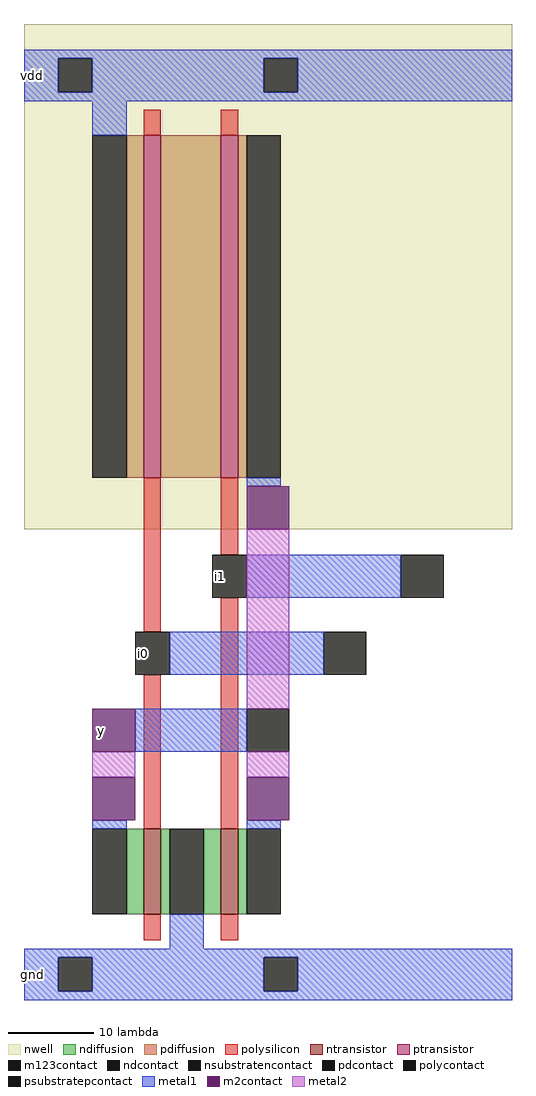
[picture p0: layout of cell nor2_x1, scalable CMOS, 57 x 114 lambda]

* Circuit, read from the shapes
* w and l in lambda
.subckt nor2_x1 i0 i1 y vdd gnd
M1 gnd i0 y gnd nfet w=10 l=2
M2 y i1 gnd gnd nfet w=10 l=2
M3 n1 i0 vdd vdd pfet w=40 l=2
M4 y i1 n1 vdd pfet w=40 l=2
.ends

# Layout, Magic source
magic
tech scmos
<< nwell >>
rect 0 55 57 114
<< ntransistor >>
rect 14 10 16 20
rect 23 10 25 20
<< ptransistor >>
rect 14 61 16 101
rect 23 61 25 101
<< ndiffusion >>
rect 12 10 14 20
rect 16 10 17 20
rect 21 10 23 20
rect 25 10 26 20
<< pdiffusion >>
rect 12 61 14 101
rect 16 61 23 101
rect 25 61 26 101
<< ndcontact >>
rect 8 10 12 20
rect 17 10 21 20
rect 26 10 30 20
<< pdcontact >>
rect 8 61 12 101
rect 26 61 30 101
<< psubstratepcontact >>
rect 4 1 8 5
rect 28 1 32 5
<< nsubstratencontact >>
rect 4 106 8 110
rect 28 106 32 110
<< polysilicon >>
rect 14 101 16 104
rect 23 101 25 104
rect 14 43 16 61
rect 23 52 25 61
rect 14 20 16 38
rect 23 20 25 47
rect 14 7 16 10
rect 23 7 25 10
<< polycontact >>
rect 22 47 26 52
rect 13 38 17 43
<< metal1 >>
rect 0 110 57 111
rect 0 106 4 110
rect 8 106 28 110
rect 32 106 57 110
rect 0 105 57 106
rect 8 101 12 105
rect 26 60 30 61
rect 26 47 44 52
rect 17 38 35 43
rect 13 29 26 34
rect 8 20 12 21
rect 26 20 30 21
rect 17 6 21 10
rect 0 5 57 6
rect 0 1 4 5
rect 8 1 28 5
rect 32 1 57 5
rect 0 0 57 1
<< m2contact >>
rect 26 55 31 60
rect 8 29 13 34
rect 8 21 13 26
rect 26 21 31 26
<< metal2 >>
rect 26 34 31 55
rect 8 26 13 29
rect 26 26 31 29
<< m123contact >>
rect 44 47 49 52
rect 35 38 40 43
rect 26 29 31 34
<< labels >>
rlabel metal1 13 38 15 43 0 i0
port 1 nsew
rlabel metal1 22 47 24 52 0 i1
port 2 nsew
rlabel m2contact 8 29 10 34 0 y
port 3 nsew
rlabel metal1 0 105 2 111 0 vdd
port 4 nsew
rlabel metal1 0 0 2 6 0 gnd
port 5 nsew
<< end >>
